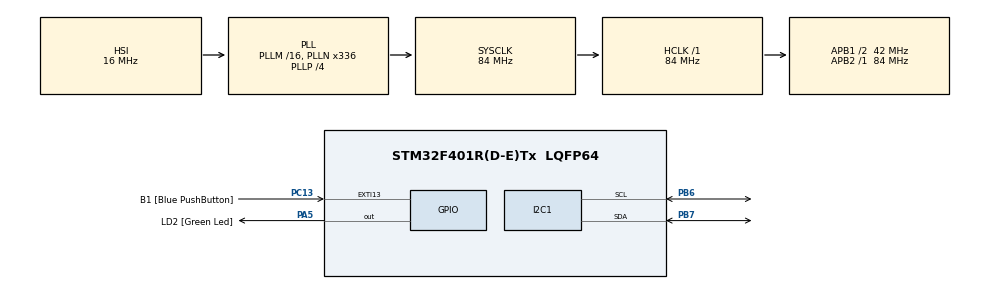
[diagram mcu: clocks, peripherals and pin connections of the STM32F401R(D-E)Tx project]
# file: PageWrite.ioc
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I2C1.I2C_Mode=I2C_Fast
Mcu.Family=STM32F4
Mcu.Name=STM32F401R(D-E)Tx
Mcu.Package=LQFP64
NVIC.PriorityGroup=NVIC_PRIORITYGROUP_0
PA13.GPIO_Label=TMS
PA13.Signal=SYS_JTMS-SWDIO
PA14.GPIO_Label=TCK
PA14.Signal=SYS_JTCK-SWCLK
PA2.GPIO_Label=USART_TX
PA2.GPIO_Mode=GPIO_MODE_AF_PP
PA2.GPIO_PuPd=GPIO_NOPULL
PA2.GPIO_Speed=GPIO_SPEED_FREQ_LOW
PA2.Signal=USART2_TX
PA3.GPIO_Label=USART_RX
PA3.GPIO_Mode=GPIO_MODE_AF_PP
PA3.GPIO_PuPd=GPIO_NOPULL
PA3.GPIO_Speed=GPIO_SPEED_FREQ_LOW
PA3.Signal=USART2_RX
PA5.GPIO_Label=LD2 [Green Led]
PA5.GPIO_Mode=GPIO_MODE_OUTPUT_PP
PA5.GPIO_PuPd=GPIO_NOPULL
PA5.GPIO_Speed=GPIO_SPEED_FREQ_LOW
PA5.Signal=GPIO_Output
PB3.GPIO_Label=SWO
PB3.Signal=SYS_JTDO-SWO
PB6.Mode=I2C
PB6.Signal=I2C1_SCL
PB7.Mode=I2C
PB7.Signal=I2C1_SDA
PC13-ANTI_TAMP.GPIO_Label=B1 [Blue PushButton]
PC13-ANTI_TAMP.GPIO_ModeDefaultEXTI=GPIO_MODE_IT_FALLING
PC13-ANTI_TAMP.GPIO_PuPd=GPIO_NOPULL
PC13-ANTI_TAMP.Signal=GPXTI13
PC14-OSC32_IN.Signal=RCC_OSC32_IN
PC15-OSC32_OUT.Signal=RCC_OSC32_OUT
PH0\ -\ OSC_IN.Signal=RCC_OSC_IN
PH1\ -\ OSC_OUT.Signal=RCC_OSC_OUT
ProjectManager.HeapSize=0x200
ProjectManager.StackSize=0x400
ProjectManager.TargetToolchain=STM32CubeIDE
RCC.AHBFreq_Value=84000000
RCC.APB1CLKDivider=RCC_HCLK_DIV2
RCC.APB1Freq_Value=42000000
RCC.APB1TimFreq_Value=84000000
RCC.APB2Freq_Value=84000000
RCC.APB2TimFreq_Value=84000000
RCC.CortexFreq_Value=84000000
RCC.HCLKFreq_Value=84000000
RCC.HSE_VALUE=8000000
RCC.HSI_VALUE=16000000
RCC.LSE_VALUE=32768
RCC.PLLN=336
RCC.PLLP=RCC_PLLP_DIV4
RCC.PLLQ=7
RCC.SYSCLKFreq_VALUE=84000000
RCC.SYSCLKSource=RCC_SYSCLKSOURCE_PLLCLK
RCC.VCOOutputFreq_Value=336000000
board=NUCLEO-F401RE

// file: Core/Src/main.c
/* USER CODE BEGIN Header */
/**
  ******************************************************************************
  * @file           : main.c
  * @brief          : Main program body
  ******************************************************************************
  * @attention
  *
  * Copyright (c) 2024 STMicroelectronics.
  * All rights reserved.
  *
  * This software is licensed under terms that can be found in the LICENSE file
  * in the root directory of this software component.
  * If no LICENSE file comes with this software, it is provided AS-IS.
  *
  ******************************************************************************
  */
/* USER CODE END Header */
#include "main.h"

/* USER CODE BEGIN Includes */
#include "math.h"
#include "string.h"
/* USER CODE END Includes */

I2C_HandleTypeDef hi2c1;

/* USER CODE BEGIN PV */
// address of EEPROM
#define EEPROM_ADDR 0xA8

#define PAGE_SIZE 32     // in Bytes
#define PAGE_NUM  128    // number of pages

uint8_t dataRead[50];
uint8_t dataWrite[20];
uint8_t characters[]="Hi how are you .Are you OK";

/* USER CODE END PV */

void SystemClock_Config(void);
static void MX_GPIO_Init(void);
static void MX_I2C1_Init(void);
/* USER CODE BEGIN PFP */
uint16_t bytestowrite(uint16_t size, uint16_t offset);
void readFromEEPROM(uint16_t page, uint16_t offset, uint8_t *data, uint16_t size);
void writeToEEPROM(uint16_t page, uint16_t offset, uint8_t *data, uint16_t size);

/* USER CODE END PFP */

int main(void)
{

  /* MCU Configuration--------------------------------------------------------*/

  /* Reset of all peripherals, Initializes the Flash interface and the Systick. */
  HAL_Init();

  /* Configure the system clock */
  SystemClock_Config();

  /* Initialize all configured peripherals */
  MX_GPIO_Init();
  MX_I2C1_Init();
  /* USER CODE BEGIN 2 */

  for(uint8_t i=0; i<20;i++)
  {
	  dataWrite[i] = i;
  }
  HAL_StatusTypeDef status = HAL_I2C_IsDeviceReady(&hi2c1, EEPROM_ADDR, 2, 1000);
  if(status == HAL_OK)
  {
//	  writeToEEPROM(0, 0, characters, strlen(characters));
	  readFromEEPROM(0, 0, dataRead, 50);

  }

  /* USER CODE END 2 */

  /* Infinite loop */
  while (1)
  {

  }
}

void SystemClock_Config(void)
{
  RCC_OscInitTypeDef RCC_OscInitStruct = {0};
  RCC_ClkInitTypeDef RCC_ClkInitStruct = {0};

  /** Configure the main internal regulator output voltage
  */
  __HAL_RCC_PWR_CLK_ENABLE();
  __HAL_PWR_VOLTAGESCALING_CONFIG(PWR_REGULATOR_VOLTAGE_SCALE2);

  /** Initializes the RCC Oscillators according to the specified parameters
  * in the RCC_OscInitTypeDef structure.
  */
  RCC_OscInitStruct.OscillatorType = RCC_OSCILLATORTYPE_HSI;
  RCC_OscInitStruct.HSIState = RCC_HSI_ON;
  RCC_OscInitStruct.HSICalibrationValue = RCC_HSICALIBRATION_DEFAULT;
  RCC_OscInitStruct.PLL.PLLState = RCC_PLL_ON;
  RCC_OscInitStruct.PLL.PLLSource = RCC_PLLSOURCE_HSI;
  RCC_OscInitStruct.PLL.PLLM = 16;
  RCC_OscInitStruct.PLL.PLLN = 336;
  RCC_OscInitStruct.PLL.PLLP = RCC_PLLP_DIV4;
  RCC_OscInitStruct.PLL.PLLQ = 7;
  if (HAL_RCC_OscConfig(&RCC_OscInitStruct) != HAL_OK)
  {
    Error_Handler();
  }

  /** Initializes the CPU, AHB and APB buses clocks
  */
  RCC_ClkInitStruct.ClockType = RCC_CLOCKTYPE_HCLK|RCC_CLOCKTYPE_SYSCLK
                              |RCC_CLOCKTYPE_PCLK1|RCC_CLOCKTYPE_PCLK2;
  RCC_ClkInitStruct.SYSCLKSource = RCC_SYSCLKSOURCE_PLLCLK;
  RCC_ClkInitStruct.AHBCLKDivider = RCC_SYSCLK_DIV1;
  RCC_ClkInitStruct.APB1CLKDivider = RCC_HCLK_DIV2;
  RCC_ClkInitStruct.APB2CLKDivider = RCC_HCLK_DIV1;

  if (HAL_RCC_ClockConfig(&RCC_ClkInitStruct, FLASH_LATENCY_2) != HAL_OK)
  {
    Error_Handler();
  }
}

static void MX_I2C1_Init(void)
{

  hi2c1.Instance = I2C1;
  hi2c1.Init.ClockSpeed = 400000;
  hi2c1.Init.DutyCycle = I2C_DUTYCYCLE_2;
  hi2c1.Init.OwnAddress1 = 0;
  hi2c1.Init.AddressingMode = I2C_ADDRESSINGMODE_7BIT;
  hi2c1.Init.DualAddressMode = I2C_DUALADDRESS_DISABLE;
  hi2c1.Init.OwnAddress2 = 0;
  hi2c1.Init.GeneralCallMode = I2C_GENERALCALL_DISABLE;
  hi2c1.Init.NoStretchMode = I2C_NOSTRETCH_DISABLE;
  if (HAL_I2C_Init(&hi2c1) != HAL_OK)
  {
    Error_Handler();
  }

}

static void MX_GPIO_Init(void)
{
  GPIO_InitTypeDef GPIO_InitStruct = {0};

  /* GPIO Ports Clock Enable */
  __HAL_RCC_GPIOC_CLK_ENABLE();
  __HAL_RCC_GPIOH_CLK_ENABLE();
  __HAL_RCC_GPIOA_CLK_ENABLE();
  __HAL_RCC_GPIOB_CLK_ENABLE();

  /*Configure GPIO pin Output Level */
  HAL_GPIO_WritePin(LD2_GPIO_Port, LD2_Pin, GPIO_PIN_RESET);

  /*Configure GPIO pin : B1_Pin */
  GPIO_InitStruct.Pin = B1_Pin;
  GPIO_InitStruct.Mode = GPIO_MODE_IT_FALLING;
  GPIO_InitStruct.Pull = GPIO_NOPULL;
  HAL_GPIO_Init(B1_GPIO_Port, &GPIO_InitStruct);

  /*Configure GPIO pins : USART_TX_Pin USART_RX_Pin */
  GPIO_InitStruct.Pin = USART_TX_Pin|USART_RX_Pin;
  GPIO_InitStruct.Mode = GPIO_MODE_AF_PP;
  GPIO_InitStruct.Pull = GPIO_NOPULL;
  GPIO_InitStruct.Speed = GPIO_SPEED_FREQ_LOW;
  GPIO_InitStruct.Alternate = GPIO_AF7_USART2;
  HAL_GPIO_Init(GPIOA, &GPIO_InitStruct);

  /*Configure GPIO pin : LD2_Pin */
  GPIO_InitStruct.Pin = LD2_Pin;
  GPIO_InitStruct.Mode = GPIO_MODE_OUTPUT_PP;
  GPIO_InitStruct.Pull = GPIO_NOPULL;
  GPIO_InitStruct.Speed = GPIO_SPEED_FREQ_LOW;
  HAL_GPIO_Init(LD2_GPIO_Port, &GPIO_InitStruct);

}

/* USER CODE BEGIN 4 */

void writeToEEPROM(uint16_t page, uint16_t offset, uint8_t *data, uint16_t size)
{
	int paddrposition = log(PAGE_SIZE)/log(2);
	// calculate the start page and the end page
	uint16_t startPage = page;
	uint16_t endPage = page + ((size+offset)/PAGE_SIZE);

	uint16_t numofpages = (endPage-startPage) + 1;
	uint16_t pos=0;

	for (int i=0; i<numofpages; i++)
	{
	/* calculate the address of the memory location
	 * Here we add the page address with the byte address
	*/
		uint16_t MemAddress = startPage<<paddrposition | offset;
		uint16_t bytesremaining = bytestowrite(size, offset);  // calculate the remaining bytes to be written

		HAL_I2C_Mem_Write(&hi2c1, EEPROM_ADDR, MemAddress, 2, &data[pos], bytesremaining, 1000);  // write the data to the EEPROM

		startPage += 1;  // increment the page, so that a new page address can be selected for further write
		offset=0;   // since we will be writing to a new page, so offset will be 0
		size = size-bytesremaining;  // reduce the size of the bytes
		pos += bytesremaining;  // update the position for the data buffer

		HAL_Delay(5);

	}

}

void readFromEEPROM(uint16_t page, uint16_t offset, uint8_t *data, uint16_t size)
{
	int paddrposition = log(PAGE_SIZE)/log(2);

	uint16_t startPage = page;
	uint16_t endPage = page + ((size+offset)/PAGE_SIZE);

	uint16_t numofpages = (endPage-startPage) + 1;
	uint16_t pos=0;
	for (int i=0; i<numofpages; i++)
	{
		uint16_t MemAddress = startPage<<paddrposition | offset;
		uint16_t bytesremaining = bytestowrite(size, offset);
		HAL_I2C_Mem_Read(&hi2c1, EEPROM_ADDR, MemAddress, 2, &data[pos], bytesremaining, 1000);
		startPage += 1;
		offset=0;
		size = size-bytesremaining;
		pos += bytesremaining;
	}

}

uint16_t bytestowrite(uint16_t size, uint16_t offset)
{
	if((size+offset)<=PAGE_SIZE)
	{
		return size;
	}
	else
	{
		return PAGE_SIZE -offset;
	}
}

/* USER CODE END 4 */

void Error_Handler(void)
{
  __disable_irq();
  while (1)
  {
  }
}
